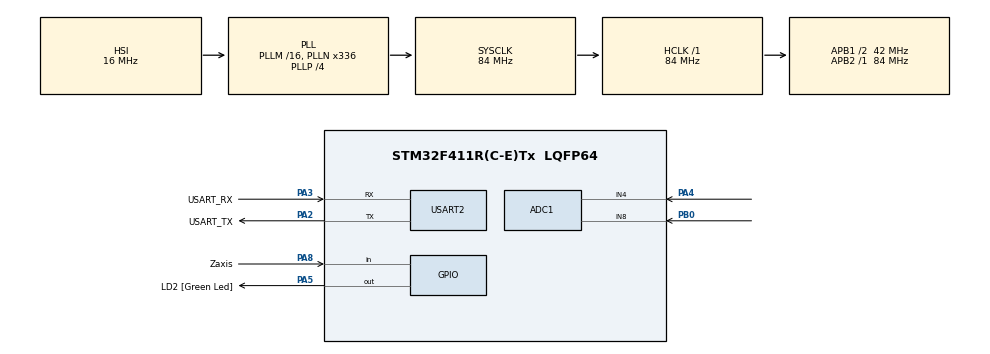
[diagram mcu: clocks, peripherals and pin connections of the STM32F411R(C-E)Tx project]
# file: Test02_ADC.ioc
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ADC1.Channel-0\#ChannelRegularConversion=ADC_CHANNEL_4
ADC1.Channel-1\#ChannelRegularConversion=ADC_CHANNEL_8
ADC1.DMAContinuousRequests=ENABLE
ADC1.DiscontinuousConvMode=ENABLE
ADC1.EOCSelection=ADC_EOC_SEQ_CONV
ADC1.ExternalTrigConv=ADC_EXTERNALTRIGCONV_T3_TRGO
ADC1.ExternalTrigConvEdge=ADC_EXTERNALTRIGCONVEDGE_FALLING
ADC1.NbrOfConversion=2
ADC1.NbrOfConversionFlag=1
ADC1.Rank-0\#ChannelRegularConversion=1
ADC1.Rank-1\#ChannelRegularConversion=2
ADC1.SamplingTime-0\#ChannelRegularConversion=ADC_SAMPLETIME_3CYCLES
ADC1.SamplingTime-1\#ChannelRegularConversion=ADC_SAMPLETIME_3CYCLES
ADC1.ScanConvMode=ENABLE
ADC1.master=1
Dma.ADC1.0.Direction=DMA_PERIPH_TO_MEMORY
Dma.ADC1.0.FIFOMode=DMA_FIFOMODE_DISABLE
Dma.ADC1.0.Instance=DMA2_Stream0
Dma.ADC1.0.MemDataAlignment=DMA_MDATAALIGN_HALFWORD
Dma.ADC1.0.MemInc=DMA_MINC_ENABLE
Dma.ADC1.0.Mode=DMA_CIRCULAR
Dma.ADC1.0.PeriphDataAlignment=DMA_PDATAALIGN_HALFWORD
Dma.ADC1.0.PeriphInc=DMA_PINC_DISABLE
Dma.ADC1.0.Priority=DMA_PRIORITY_LOW
Dma.Request0=ADC1
Mcu.Family=STM32F4
Mcu.Name=STM32F411R(C-E)Tx
Mcu.Package=LQFP64
NVIC.DMA2_Stream0_IRQn=true\:0\:0\:false\:false\:true\:false\:true\:true
NVIC.PriorityGroup=NVIC_PRIORITYGROUP_0
PA13.Mode=Serial_Wire
PA13.Signal=SYS_JTMS-SWDIO
PA14.GPIO_Label=TCK
PA14.Mode=Serial_Wire
PA14.Signal=SYS_JTCK-SWCLK
PA2.GPIO_Label=USART_TX
PA2.Mode=Asynchronous
PA2.Signal=USART2_TX
PA3.GPIO_Label=USART_RX
PA3.Mode=Asynchronous
PA3.Signal=USART2_RX
PA4.Signal=ADCx_IN4
PA5.GPIO_Label=LD2 [Green Led]
PA5.Signal=GPIO_Output
PA8.GPIO_Label=Zaxis
PA8.GPIO_PuPd=GPIO_PULLUP
PA8.Signal=GPIO_Input
PB0.Signal=ADCx_IN8
PB3.GPIO_Label=SWO
PB3.Signal=SYS_JTDO-SWO
PC14-OSC32_IN.Mode=LSE-External-Oscillator
PC14-OSC32_IN.Signal=RCC_OSC32_IN
PC15-OSC32_OUT.Mode=LSE-External-Oscillator
PC15-OSC32_OUT.Signal=RCC_OSC32_OUT
PH0\ -\ OSC_IN.Mode=HSE-External-Clock-Source
PH0\ -\ OSC_IN.Signal=RCC_OSC_IN
PH1\ -\ OSC_OUT.Mode=HSE-External-Clock-Source
PH1\ -\ OSC_OUT.Signal=RCC_OSC_OUT
ProjectManager.HeapSize=0x200
ProjectManager.StackSize=0x400
ProjectManager.TargetToolchain=STM32CubeIDE
RCC.48MHZClocksFreq_Value=84000000
RCC.AHBFreq_Value=84000000
RCC.APB1CLKDivider=RCC_HCLK_DIV2
RCC.APB1Freq_Value=42000000
RCC.APB1TimFreq_Value=84000000
RCC.APB2Freq_Value=84000000
RCC.APB2TimFreq_Value=84000000
RCC.CortexFreq_Value=84000000
RCC.FLatency-AdvancedSettings=FLASH_LATENCY_2
RCC.HCLKFreq_Value=84000000
RCC.HSE_VALUE=8000000
RCC.HSI_VALUE=16000000
RCC.PLLN=336
RCC.PLLP=RCC_PLLP_DIV4
RCC.SYSCLKFreq_VALUE=84000000
RCC.SYSCLKSource=RCC_SYSCLKSOURCE_PLLCLK
RCC.VCOOutputFreq_Value=336000000
SH.ADCx_IN4.0=ADC1_IN4,IN4
SH.ADCx_IN8.0=ADC1_IN8,IN8
TIM3.Period=5000-1
TIM3.Prescaler=8400-1
TIM3.TIM_MasterOutputTrigger=TIM_TRGO_UPDATE
USART2.VirtualMode=VM_ASYNC
VP_TIM3_VS_ClockSourceINT.Mode=Internal
board=NUCLEO-F411RE

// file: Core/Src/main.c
/* USER CODE BEGIN Header */
/**
  ******************************************************************************
  * @file           : main.c
  * @brief          : Main program body
  ******************************************************************************
  * @attention
  *
  * Copyright (c) 2023 STMicroelectronics.
  * All rights reserved.
  *
  * This software is licensed under terms that can be found in the LICENSE file
  * in the root directory of this software component.
  * If no LICENSE file comes with this software, it is provided AS-IS.
  *
  ******************************************************************************
  */
/* USER CODE END Header */
#include "main.h"

ADC_HandleTypeDef hadc1;
DMA_HandleTypeDef hdma_adc1;

TIM_HandleTypeDef htim3;

UART_HandleTypeDef huart2;

/* USER CODE BEGIN PV */
#include "../../../myLib/myLib.c"
/* USER CODE END PV */

void SystemClock_Config(void);
static void MX_GPIO_Init(void);
static void MX_DMA_Init(void);
static void MX_USART2_UART_Init(void);
static void MX_ADC1_Init(void);
static void MX_TIM3_Init(void);

/* USER CODE BEGIN 0 */
void myDelay(int ms)
{
	for(int j=0;j<ms;j++){
		for(int i=0;i<1000;i++){
			noOp();
		}
	}
}
short int dValue[2];
int xValue = -1;
int yValue = -1;
int n = 0;
void noOp(){}
int GetAdcValue()
{
	HAL_ADC_Start(&hadc1);					//start sampling
	HAL_ADC_PollForConversion(&hadc1, 100);	//wait
	int val = HAL_ADC_GetValue(&hadc1);		//Get
	return val;
}
void HAL_ADC_ConvCpltCallback(ADC_HandleTypeDef* hadc)
{
//	int Value = HAL_ADC_GetValue(&hadc1);
//	if(n==0) {xValue=Value;n++;}
//	else
//	{
//		yValue=Value; n=0;
//		printf("(intr)X value : %d\r\n",xValue);
//		printf("(intr)Y value : %d\r\n",yValue);
//		printf("(intr)Z value : %d\r\n\n",HAL_GPIO_ReadPin(Zaxis_GPIO_Port, Zaxis_Pin));
//	}
//	myDelay(1000);
//	HAL_ADC_Start_IT(&hadc1);
}

/* USER CODE END 0 */

int main(void)
{

  /* MCU Configuration--------------------------------------------------------*/

  /* Reset of all peripherals, Initializes the Flash interface and the Systick. */
  HAL_Init();

  /* Configure the system clock */
  SystemClock_Config();

  /* Initialize all configured peripherals */
  MX_GPIO_Init();
  MX_DMA_Init();
  MX_USART2_UART_Init();
  MX_ADC1_Init();
  MX_TIM3_Init();
  /* USER CODE BEGIN 2 */
  HAL_TIM_Base_Start(&htim3);
  printf("\033[1J\033[1;1HProgram Restart....\r\n");
//  htim2.Instance->CNT=0;
//  for(int i=0;i<50;i++) noOp();
//  volatile int tt=htim2.Instance->CNT;
//
//  printf("noOp function Calling time: %d\r\n",tt);

//  HAL_ADC_Start_IT(&hadc1);
  HAL_ADC_Start_DMA(&hadc1, (int *)dValue, 2);
  printf("ADC DMA started....\r\n");
  /* USER CODE END 2 */

  /* Infinite loop */
  while (1)
  {

    /* USER CODE BEGIN 3 */
	  printf("(dma)X value : %d\r\n",dValue[0]);
	  printf("(dma)Y value : %d\r\n",dValue[1]);
	  printf("(dma)Z value : %d\r\n\n",HAL_GPIO_ReadPin(Zaxis_GPIO_Port, Zaxis_Pin));
	  HAL_Delay(500);
  }
  /* USER CODE END 3 */
}

void SystemClock_Config(void)
{
  RCC_OscInitTypeDef RCC_OscInitStruct = {0};
  RCC_ClkInitTypeDef RCC_ClkInitStruct = {0};

  /** Configure the main internal regulator output voltage
  */
  __HAL_RCC_PWR_CLK_ENABLE();
  __HAL_PWR_VOLTAGESCALING_CONFIG(PWR_REGULATOR_VOLTAGE_SCALE1);

  /** Initializes the RCC Oscillators according to the specified parameters
  * in the RCC_OscInitTypeDef structure.
  */
  RCC_OscInitStruct.OscillatorType = RCC_OSCILLATORTYPE_HSI;
  RCC_OscInitStruct.HSIState = RCC_HSI_ON;
  RCC_OscInitStruct.HSICalibrationValue = RCC_HSICALIBRATION_DEFAULT;
  RCC_OscInitStruct.PLL.PLLState = RCC_PLL_ON;
  RCC_OscInitStruct.PLL.PLLSource = RCC_PLLSOURCE_HSI;
  RCC_OscInitStruct.PLL.PLLM = 16;
  RCC_OscInitStruct.PLL.PLLN = 336;
  RCC_OscInitStruct.PLL.PLLP = RCC_PLLP_DIV4;
  RCC_OscInitStruct.PLL.PLLQ = 4;
  if (HAL_RCC_OscConfig(&RCC_OscInitStruct) != HAL_OK)
  {
    Error_Handler();
  }

  /** Initializes the CPU, AHB and APB buses clocks
  */
  RCC_ClkInitStruct.ClockType = RCC_CLOCKTYPE_HCLK|RCC_CLOCKTYPE_SYSCLK
                              |RCC_CLOCKTYPE_PCLK1|RCC_CLOCKTYPE_PCLK2;
  RCC_ClkInitStruct.SYSCLKSource = RCC_SYSCLKSOURCE_PLLCLK;
  RCC_ClkInitStruct.AHBCLKDivider = RCC_SYSCLK_DIV1;
  RCC_ClkInitStruct.APB1CLKDivider = RCC_HCLK_DIV2;
  RCC_ClkInitStruct.APB2CLKDivider = RCC_HCLK_DIV1;

  if (HAL_RCC_ClockConfig(&RCC_ClkInitStruct, FLASH_LATENCY_2) != HAL_OK)
  {
    Error_Handler();
  }
}

static void MX_ADC1_Init(void)
{

  ADC_ChannelConfTypeDef sConfig = {0};

  /** Configure the global features of the ADC (Clock, Resolution, Data Alignment and number of conversion)
  */
  hadc1.Instance = ADC1;
  hadc1.Init.ClockPrescaler = ADC_CLOCK_SYNC_PCLK_DIV4;
  hadc1.Init.Resolution = ADC_RESOLUTION_12B;
  hadc1.Init.ScanConvMode = ENABLE;
  hadc1.Init.ContinuousConvMode = DISABLE;
  hadc1.Init.DiscontinuousConvMode = ENABLE;
  hadc1.Init.NbrOfDiscConversion = 1;
  hadc1.Init.ExternalTrigConvEdge = ADC_EXTERNALTRIGCONVEDGE_FALLING;
  hadc1.Init.ExternalTrigConv = ADC_EXTERNALTRIGCONV_T3_TRGO;
  hadc1.Init.DataAlign = ADC_DATAALIGN_RIGHT;
  hadc1.Init.NbrOfConversion = 2;
  hadc1.Init.DMAContinuousRequests = ENABLE;
  hadc1.Init.EOCSelection = ADC_EOC_SEQ_CONV;
  if (HAL_ADC_Init(&hadc1) != HAL_OK)
  {
    Error_Handler();
  }

  /** Configure for the selected ADC regular channel its corresponding rank in the sequencer and its sample time.
  */
  sConfig.Channel = ADC_CHANNEL_4;
  sConfig.Rank = 1;
  sConfig.SamplingTime = ADC_SAMPLETIME_3CYCLES;
  if (HAL_ADC_ConfigChannel(&hadc1, &sConfig) != HAL_OK)
  {
    Error_Handler();
  }

  /** Configure for the selected ADC regular channel its corresponding rank in the sequencer and its sample time.
  */
  sConfig.Channel = ADC_CHANNEL_8;
  sConfig.Rank = 2;
  if (HAL_ADC_ConfigChannel(&hadc1, &sConfig) != HAL_OK)
  {
    Error_Handler();
  }

}

static void MX_TIM3_Init(void)
{

  TIM_ClockConfigTypeDef sClockSourceConfig = {0};
  TIM_MasterConfigTypeDef sMasterConfig = {0};

  htim3.Instance = TIM3;
  htim3.Init.Prescaler = 8400-1;
  htim3.Init.CounterMode = TIM_COUNTERMODE_UP;
  htim3.Init.Period = 5000-1;
  htim3.Init.ClockDivision = TIM_CLOCKDIVISION_DIV1;
  htim3.Init.AutoReloadPreload = TIM_AUTORELOAD_PRELOAD_DISABLE;
  if (HAL_TIM_Base_Init(&htim3) != HAL_OK)
  {
    Error_Handler();
  }
  sClockSourceConfig.ClockSource = TIM_CLOCKSOURCE_INTERNAL;
  if (HAL_TIM_ConfigClockSource(&htim3, &sClockSourceConfig) != HAL_OK)
  {
    Error_Handler();
  }
  sMasterConfig.MasterOutputTrigger = TIM_TRGO_UPDATE;
  sMasterConfig.MasterSlaveMode = TIM_MASTERSLAVEMODE_DISABLE;
  if (HAL_TIMEx_MasterConfigSynchronization(&htim3, &sMasterConfig) != HAL_OK)
  {
    Error_Handler();
  }

}

static void MX_USART2_UART_Init(void)
{

  huart2.Instance = USART2;
  huart2.Init.BaudRate = 115200;
  huart2.Init.WordLength = UART_WORDLENGTH_8B;
  huart2.Init.StopBits = UART_STOPBITS_1;
  huart2.Init.Parity = UART_PARITY_NONE;
  huart2.Init.Mode = UART_MODE_TX_RX;
  huart2.Init.HwFlowCtl = UART_HWCONTROL_NONE;
  huart2.Init.OverSampling = UART_OVERSAMPLING_16;
  if (HAL_UART_Init(&huart2) != HAL_OK)
  {
    Error_Handler();
  }

}

static void MX_DMA_Init(void)
{

  /* DMA controller clock enable */
  __HAL_RCC_DMA2_CLK_ENABLE();

  /* DMA interrupt init */
  /* DMA2_Stream0_IRQn interrupt configuration */
  HAL_NVIC_SetPriority(DMA2_Stream0_IRQn, 0, 0);
  HAL_NVIC_EnableIRQ(DMA2_Stream0_IRQn);

}

static void MX_GPIO_Init(void)
{
  GPIO_InitTypeDef GPIO_InitStruct = {0};

  /* GPIO Ports Clock Enable */
  __HAL_RCC_GPIOC_CLK_ENABLE();
  __HAL_RCC_GPIOH_CLK_ENABLE();
  __HAL_RCC_GPIOA_CLK_ENABLE();
  __HAL_RCC_GPIOB_CLK_ENABLE();

  /*Configure GPIO pin Output Level */
  HAL_GPIO_WritePin(LD2_GPIO_Port, LD2_Pin, GPIO_PIN_RESET);

  /*Configure GPIO pin : LD2_Pin */
  GPIO_InitStruct.Pin = LD2_Pin;
  GPIO_InitStruct.Mode = GPIO_MODE_OUTPUT_PP;
  GPIO_InitStruct.Pull = GPIO_NOPULL;
  GPIO_InitStruct.Speed = GPIO_SPEED_FREQ_LOW;
  HAL_GPIO_Init(LD2_GPIO_Port, &GPIO_InitStruct);

  /*Configure GPIO pin : Zaxis_Pin */
  GPIO_InitStruct.Pin = Zaxis_Pin;
  GPIO_InitStruct.Mode = GPIO_MODE_INPUT;
  GPIO_InitStruct.Pull = GPIO_PULLUP;
  HAL_GPIO_Init(Zaxis_GPIO_Port, &GPIO_InitStruct);

}

void Error_Handler(void)
{
  __disable_irq();
  while (1)
  {
  }
}
